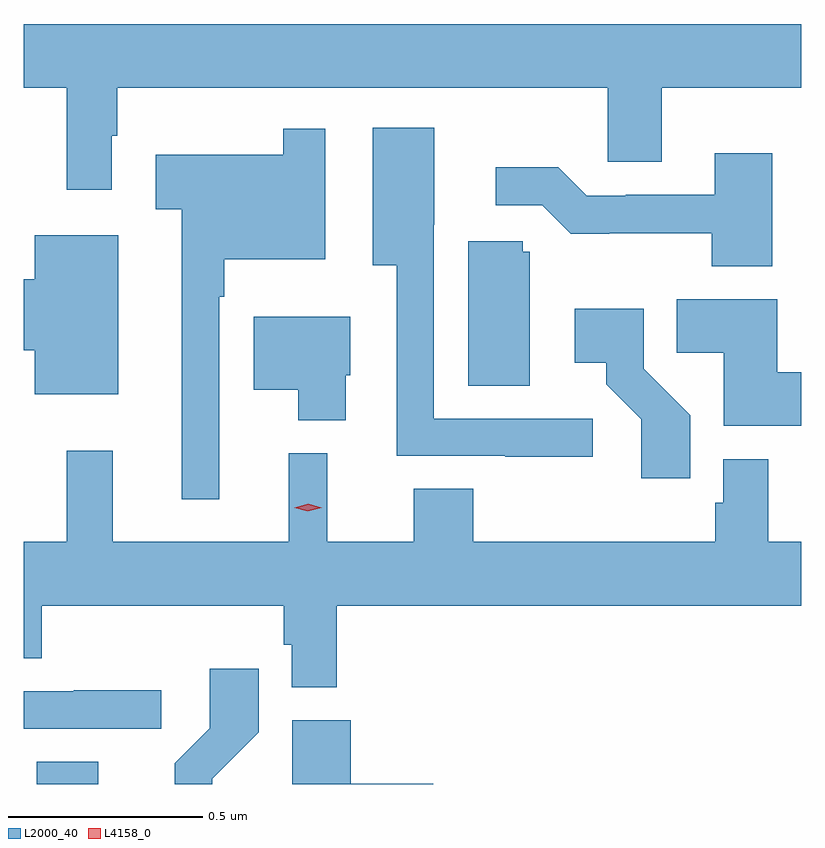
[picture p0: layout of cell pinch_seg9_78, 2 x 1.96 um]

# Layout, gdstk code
import gdstk
lib = gdstk.Library(unit=1e-6, precision=1e-09)
def R(c, l, rs):  # rectangles x0, y0, x1, y1
    for r in rs: c.add(gdstk.rectangle(r[:2], r[2:], *l))
def P(c, l, *ps):  # polygons
    for p in ps: c.add(gdstk.Polygon(p, *l))
L2000_40 = (2000, 40)
L4158_0 = (4158, 0)

pinch_seg9_78 = lib.new_cell('pinch_seg9_78')
R(pinch_seg9_78, L2000_40, [(1044.926,1191.965,1045.084,1192.022)])
P(pinch_seg9_78, L2000_40, [(1045.119,1193.633),(1045.132,1193.633),(1045.132,1193.756),(1046.394,1193.756),(1046.394,1193.566),(1046.533,1193.566),(1046.533,1193.756),(1046.892,1193.756),(1046.892,1193.92),(1044.892,1193.92),(1044.892,1193.756),(1045.003,1193.756),(1045.003,1193.493),(1045.119,1193.493)],
  [(1046.356,1192.905),(1045.947,1192.905),(1045.947,1193.404),(1045.948,1193.404),(1045.948,1193.653),(1045.79,1193.653),(1045.79,1193.3),(1045.851,1193.3),(1045.851,1192.809),(1046.131,1192.809),(1046.131,1192.807),(1046.356,1192.807)],
  [(1045.395,1193.219),(1045.408,1193.219),(1045.408,1193.315),(1045.668,1193.315),(1045.668,1193.65),(1045.56,1193.65),(1045.56,1193.584),(1045.232,1193.584),(1045.232,1193.444),(1045.298,1193.444),(1045.298,1192.698),(1045.395,1192.698)],
  [(1046.817,1193.587),(1046.669,1193.587),(1046.669,1193.481),(1046.44,1193.481),(1046.44,1193.478),(1046.34,1193.478),(1046.267,1193.551),(1046.106,1193.551),(1046.106,1193.454),(1046.226,1193.454),(1046.299,1193.381),(1046.398,1193.381),(1046.398,1193.382),(1046.662,1193.382),(1046.662,1193.297),(1046.817,1193.297)],
  [(1045.135,1193.377),(1044.92,1193.377),(1044.92,1193.264),(1044.892,1193.264),(1044.892,1193.081),(1044.92,1193.081),(1044.92,1192.967),(1045.135,1192.967)],
  [(1046.194,1193.334),(1046.175,1193.334),(1046.175,1193.361),(1046.036,1193.361),(1046.036,1192.99),(1046.194,1192.99)],
  [(1046.892,1193.024),(1046.83,1193.024),(1046.83,1193.212),(1046.572,1193.212),(1046.572,1193.074),(1046.693,1193.074),(1046.693,1192.886),(1046.892,1192.886)],
  [(1046.606,1192.914),(1046.487,1193.033),(1046.487,1193.188),(1046.31,1193.188),(1046.31,1193.048),(1046.39,1193.048),(1046.39,1192.993),(1046.481,1192.903),(1046.481,1192.752),(1046.606,1192.752)],
  [(1045.72,1193.016),(1045.732,1193.016),(1045.732,1193.167),(1045.484,1193.167),(1045.484,1192.979),(1045.598,1192.979),(1045.598,1192.901),(1045.72,1192.901)],
  [(1045.697,1192.424),(1046.892,1192.424),(1046.892,1192.588),(1046.807,1192.588),(1046.807,1192.801),(1046.691,1192.801),(1046.691,1192.689),(1046.671,1192.689),(1046.671,1192.588),(1046.048,1192.588),(1046.048,1192.724),(1045.895,1192.724),(1045.895,1192.588),(1045.673,1192.588),(1045.673,1192.816),(1045.574,1192.816),(1045.574,1192.588),(1045.121,1192.588),(1045.121,1192.822),(1045.003,1192.822),(1045.003,1192.588),(1044.892,1192.588),(1044.892,1192.288),(1044.938,1192.288),(1044.938,1192.424),(1045.561,1192.424),(1045.561,1192.323),(1045.581,1192.323),(1045.581,1192.214),(1045.697,1192.214)],
  [(1045.377,1191.979),(1045.496,1192.098),(1045.496,1192.261),(1045.371,1192.261),(1045.371,1192.109),(1045.28,1192.019),(1045.28,1191.965),(1045.377,1191.965)],
  [(1045.246,1192.206),(1045.021,1192.206),(1045.021,1192.203),(1044.892,1192.203),(1044.892,1192.107),(1045.246,1192.107)],
  [(1045.945,1191.966),(1045.733,1191.966),(1045.733,1192.129),(1045.583,1192.129),(1045.583,1191.965),(1045.945,1191.965)])
P(pinch_seg9_78, L4158_0, [(1045.623,1192.666),(1045.588,1192.676),(1045.587,1192.676),(1045.588,1192.676),(1045.624,1192.686),(1045.659,1192.675),(1045.659,1192.675),(1045.659,1192.675)])

lib.write_gds('pinch_seg9_78.gds')
